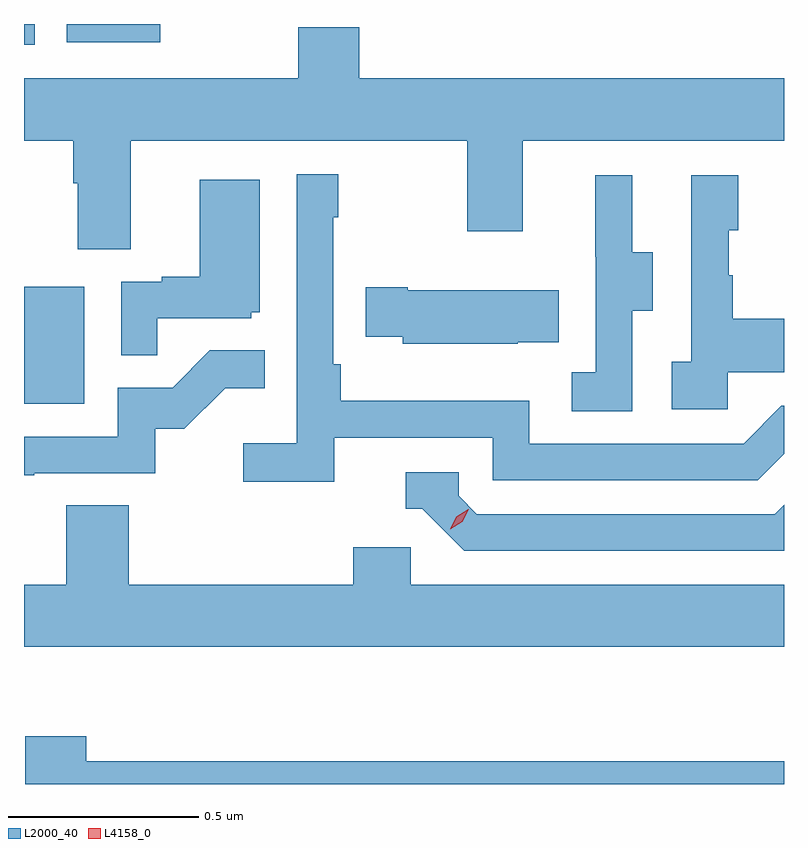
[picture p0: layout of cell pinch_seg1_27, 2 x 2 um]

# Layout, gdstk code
import gdstk
lib = gdstk.Library(unit=1e-6, precision=1e-09)
def R(c, l, rs):  # rectangles x0, y0, x1, y1
    for r in rs: c.add(gdstk.rectangle(r[:2], r[2:], *l))
def P(c, l, *ps):  # polygons
    for p in ps: c.add(gdstk.Polygon(p, *l))
L2000_40 = (2000, 40)
L4158_0 = (4158, 0)

pinch_seg1_27 = lib.new_cell('pinch_seg1_27')
R(pinch_seg1_27, L2000_40, [(1078.19,579.012,1078.348,579.319), (1078.19,579.957,1078.218,580.011), (1078.303,579.963,1078.549,580.011)])
P(pinch_seg1_27, L2000_40, [(1078.471,579.704),(1079.356,579.704),(1079.356,579.465),(1079.503,579.465),(1079.503,579.704),(1080.19,579.704),(1080.19,579.868),(1079.072,579.868),(1079.072,580.003),(1078.912,580.003),(1078.912,579.868),(1078.19,579.868),(1078.19,579.704),(1078.319,579.704),(1078.319,579.592),(1078.331,579.592),(1078.331,579.418),(1078.471,579.418)],
  [(1079.006,578.922),(1079.424,578.922),(1079.424,578.811),(1080.121,578.811),(1080.19,578.88),(1080.19,579.006),(1080.183,579.006),(1080.084,578.907),(1079.52,578.907),(1079.52,579.019),(1079.024,579.019),(1079.024,579.115),(1079.004,579.115),(1079.004,579.503),(1079.017,579.503),(1079.017,579.616),(1078.908,579.616),(1078.908,578.908),(1078.767,578.908),(1078.767,578.806),(1079.006,578.806)],
  [(1080.042,579.095),(1080.19,579.095),(1080.19,579.235),(1080.055,579.235),(1080.055,579.35),(1080.045,579.35),(1080.045,579.468),(1080.07,579.468),(1080.07,579.613),(1079.946,579.613),(1079.946,579.122),(1079.895,579.122),(1079.895,578.997),(1080.042,578.997)],
  [(1079.79,579.256),(1079.845,579.256),(1079.845,579.411),(1079.791,579.411),(1079.791,579.613),(1079.693,579.613),(1079.693,579.399),(1079.694,579.399),(1079.694,579.095),(1079.631,579.095),(1079.631,578.992),(1079.79,578.992)],
  [(1078.541,579.237),(1078.788,579.237),(1078.788,579.252),(1078.81,579.252),(1078.81,579.601),(1078.652,579.601),(1078.652,579.346),(1078.553,579.346),(1078.553,579.333),(1078.446,579.333),(1078.446,579.139),(1078.541,579.139)],
  [(1079.489,579.173),(1079.597,579.173),(1079.597,579.31),(1079.2,579.31),(1079.2,579.318),(1079.089,579.318),(1079.089,579.188),(1079.187,579.188),(1079.187,579.17),(1079.489,579.17)],
  [(1078.217,578.829),(1078.536,578.829),(1078.536,578.946),(1078.612,578.946),(1078.719,579.053),(1078.823,579.053),(1078.823,579.152),(1078.679,579.152),(1078.581,579.054),(1078.437,579.054),(1078.437,578.925),(1078.19,578.925),(1078.19,578.824),(1078.217,578.824)],
  [(1080.19,578.746),(1080.165,578.721),(1079.382,578.721),(1079.334,578.769),(1079.334,578.832),(1079.195,578.832),(1079.195,578.736),(1079.238,578.736),(1079.349,578.625),(1080.19,578.625)],
  [(1080.19,578.536),(1079.208,578.536),(1079.208,578.634),(1079.057,578.634),(1079.057,578.536),(1078.466,578.536),(1078.466,578.744),(1078.301,578.744),(1078.301,578.536),(1078.19,578.536),(1078.19,578.372),(1080.19,578.372)],
  [(1080.19,578.071),(1078.354,578.071),(1078.354,578.137),(1078.193,578.137),(1078.193,578.011),(1080.19,578.011)])
P(pinch_seg1_27, L4158_0, [(1079.312,578.681),(1079.312,578.682),(1079.328,578.714),(1079.359,578.734),(1079.36,578.734),(1079.36,578.734),(1079.343,578.701),(1079.312,578.681)])

lib.write_gds('pinch_seg1_27.gds')
